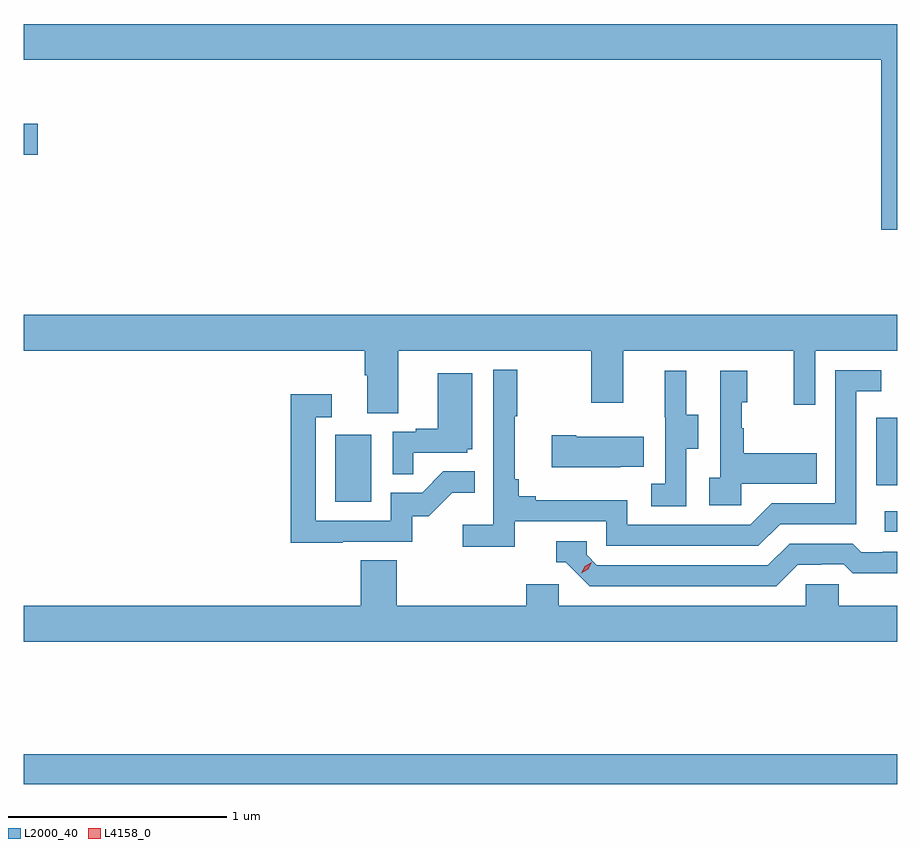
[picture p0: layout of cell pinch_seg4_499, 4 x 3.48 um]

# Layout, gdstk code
import gdstk
lib = gdstk.Library(unit=1e-6, precision=1e-09)
def R(c, l, rs):  # rectangles x0, y0, x1, y1
    for r in rs: c.add(gdstk.rectangle(r[:2], r[2:], *l))
def P(c, l, *ps):  # polygons
    for p in ps: c.add(gdstk.Polygon(p, *l))
L2000_40 = (2000, 40)
L4158_0 = (4158, 0)

pinch_seg4_499 = lib.new_cell('pinch_seg4_499')
R(pinch_seg4_499, L2000_40, [(962.871,766.864,966.871,767), (966.813,768.018,966.871,768.114), (964.298,768.156,964.462,768.463), (962.871,769.745,962.935,769.887)])
P(pinch_seg4_499, L2000_40, [(966.871,770.344),(962.871,770.344),(962.871,770.18),(966.797,770.18),(966.797,769.401),(966.871,769.401)],
  [(964.585,768.848),(965.47,768.848),(965.47,768.609),(965.617,768.609),(965.617,768.848),(966.398,768.848),(966.398,768.6),(966.495,768.6),(966.495,768.848),(966.871,768.848),(966.871,769.012),(962.871,769.012),(962.871,768.848),(964.433,768.848),(964.433,768.736),(964.445,768.736),(964.445,768.562),(964.585,768.562)],
  [(965.12,768.066),(965.538,768.066),(965.538,767.955),(966.235,767.955),(966.334,768.054),(966.684,768.054),(966.684,768.663),(966.797,768.663),(966.797,768.759),(966.588,768.759),(966.588,768.15),(966.297,768.15),(966.198,768.051),(965.634,768.051),(965.634,768.163),(965.215,768.163),(965.215,768.182),(965.138,768.182),(965.138,768.259),(965.119,768.259),(965.119,768.547),(965.131,768.547),(965.131,768.76),(965.022,768.76),(965.022,768.052),(964.881,768.052),(964.881,767.95),(965.12,767.95)],
  [(965.904,768.4),(965.959,768.4),(965.959,768.555),(965.905,768.555),(965.905,768.757),(965.807,768.757),(965.807,768.543),(965.808,768.543),(965.808,768.239),(965.745,768.239),(965.745,768.136),(965.904,768.136)],
  [(966.156,768.239),(966.503,768.239),(966.503,768.379),(966.169,768.379),(966.169,768.494),(966.159,768.494),(966.159,768.612),(966.184,768.612),(966.184,768.757),(966.06,768.757),(966.06,768.266),(966.009,768.266),(966.009,768.141),(966.156,768.141)],
  [(964.655,768.381),(964.902,768.381),(964.902,768.396),(964.924,768.396),(964.924,768.745),(964.766,768.745),(964.766,768.49),(964.667,768.49),(964.667,768.477),(964.56,768.477),(964.56,768.283),(964.655,768.283)],
  [(964.331,767.973),(964.65,767.973),(964.65,768.09),(964.726,768.09),(964.833,768.197),(964.937,768.197),(964.937,768.296),(964.793,768.296),(964.695,768.198),(964.551,768.198),(964.551,768.069),(964.209,768.069),(964.209,768.543),(964.282,768.543),(964.282,768.649),(964.093,768.649),(964.093,767.968),(964.331,767.968)],
  [(966.87,768.443),(966.871,768.443),(966.871,768.54),(966.774,768.54),(966.774,768.231),(966.87,768.231)],
  [(965.603,768.317),(965.711,768.317),(965.711,768.454),(965.401,768.454),(965.401,768.462),(965.289,768.462),(965.289,768.314),(965.603,768.314)],
  [(966.415,767.868),(966.522,767.868),(966.522,767.871),(966.625,767.871),(966.667,767.829),(966.871,767.829),(966.871,767.928),(966.805,767.928),(966.805,767.925),(966.706,767.925),(966.667,767.964),(966.378,767.964),(966.279,767.865),(965.496,767.865),(965.448,767.913),(965.448,767.976),(965.309,767.976),(965.309,767.88),(965.352,767.88),(965.463,767.769),(966.316,767.769)],
  [(966.871,767.68),(966.603,767.68),(966.603,767.778),(966.453,767.778),(966.453,767.68),(965.322,767.68),(965.322,767.778),(965.171,767.778),(965.171,767.68),(964.58,767.68),(964.58,767.888),(964.415,767.888),(964.415,767.68),(962.871,767.68),(962.871,767.516),(966.871,767.516)])
P(pinch_seg4_499, L4158_0, [(965.423,767.828),(965.423,767.828),(965.44,767.86),(965.471,767.88),(965.472,767.88),(965.472,767.879),(965.455,767.847),(965.424,767.828)])

lib.write_gds('pinch_seg4_499.gds')
